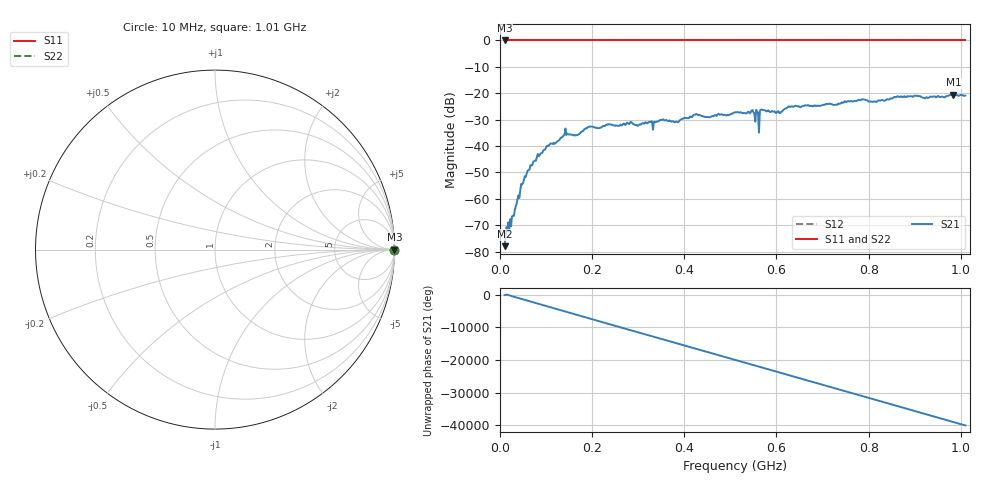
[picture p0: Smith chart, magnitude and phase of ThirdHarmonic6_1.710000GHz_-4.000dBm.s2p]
! 8/16/2025 8:33:50 PM
! C:\ANRITSUVNA\TEMP\TEMP.S2P
! CHANNEL.1
! TR.MEASUREMENT
! RAW.DATA
! RF.CORRECTION.OFF
! AVERAGING.OFF
! IF.BANDWIDTH: 5KHZ
! SWEEPTYPE:  FREQ.SWEEP(Linear)
! Reference Plane Port Info
! PORT:  PORT1  PORT2
! DISTANCE:  0  m  0  m
! TIME:  0  s  0  s
! PHASE.OFFSET:  0  deg.  0  deg.
! LOSS:  0  dB  0  dB
! REF.LOSS:  0  dB  0  dB
! REF.FREQ:  0  Hz  0  Hz
! Power Info
! POWER:  -20  dBm  -20  dBm
! EFF.POWER:  -20  dBm  -20  dBm
! SOURCE.ATTEN:  0  dB  0  dB
! TEST.ATTEN:  0  dB  0  dB
# GHZ S RI R 50.0
! FREQ.GHZ  S11RE  S11IM  S21RE  S21IM  S12RE  S12IM  S22RE  S22IM
!; PortSelection: Port_12
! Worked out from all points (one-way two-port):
!   501 points, 10 MHz to 1.01 GHz, reference 50 ohm
!   highest |S21| = -20.50 dB at 984 MHz (marker M1); lowest = -77.9 dB at 10 MHz (marker M2)
!   lowest |S11| = 0.0 dB at 10 MHz (marker M3)
!   |S11| at or under -10 dB: nowhere
!   |S22| runs from 0.0 to 0.0 dB; largest |S21 - S12| = 1.1
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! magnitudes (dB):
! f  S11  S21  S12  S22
! 10 MHz  0.0  -77.9  0.0  0.0
! 18 MHz  0.0  -68.9  0.0  0.0
! 28 MHz  0.0  -66.5  0.0  0.0
! 50 MHz  0.0  -53.9  0.0  0.0
! 70 MHz  0.0  -47.2  0.0  0.0
! 104 MHz  0.0  -39.9  0.0  0.0
! 138 MHz  0.0  -36.0  0.0  0.0
! 178 MHz  0.0  -34.5  0.0  0.0
! 196 MHz  0.0  -32.6  0.0  0.0
! 344 MHz  0.0  -30.7  0.0  0.0
! 384 MHz  0.0  -30.8  0.0  0.0
! 510 MHz  0.0  -27.2  0.0  0.0
! 548 MHz  0.0  -26.3  0.0  0.0
! 558 MHz  0.0  -26.9  0.0  0.0
! 566 MHz  0.0  -26.2  0.0  0.0
! 568 MHz  0.0  -26.2  0.0  0.0
! 604 MHz  0.0  -26.8  0.0  0.0
! 630 MHz  0.0  -25.2  0.0  0.0
! 678 MHz  0.0  -25.0  0.0  0.0
! 844 MHz  0.0  -22.4  0.0  0.0
! 984 MHz  0.0  -20.5  0.0  0.0
! 1.01 GHz  0.0  -20.9  0.0  0.0
